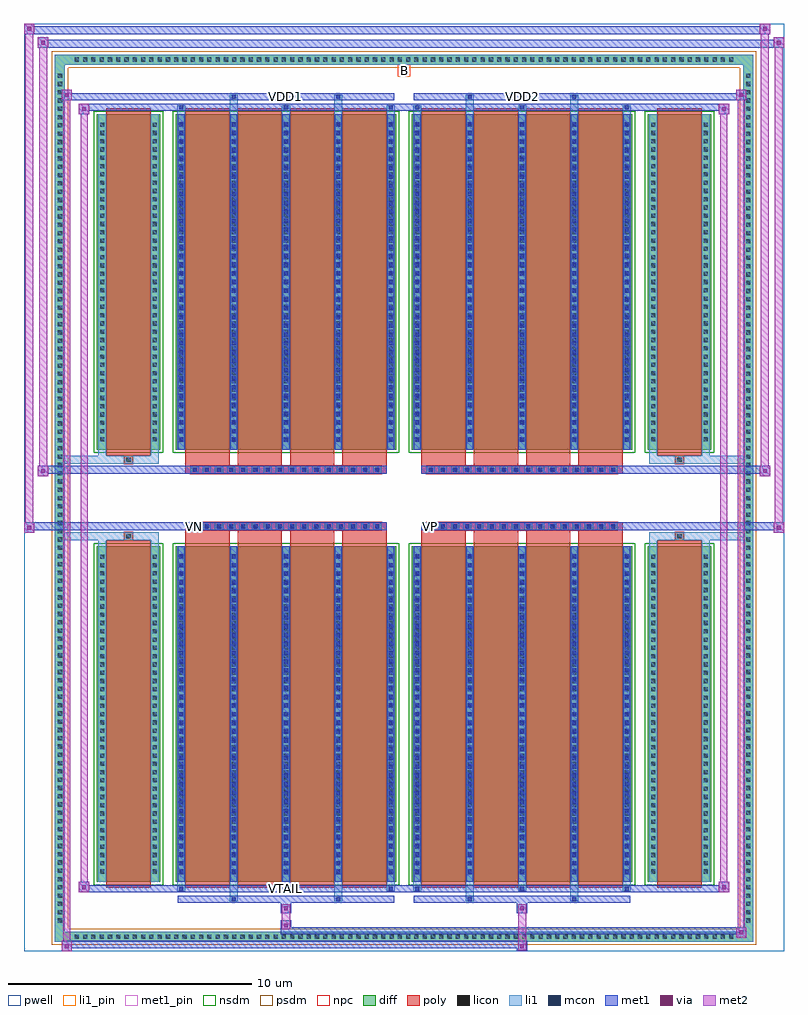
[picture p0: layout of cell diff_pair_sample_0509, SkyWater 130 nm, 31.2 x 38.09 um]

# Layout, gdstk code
import gdstk
lib = gdstk.Library(unit=1e-6, precision=5e-09)
def R(c, l, rs):  # rectangles x0, y0, x1, y1
    for r in rs: c.add(gdstk.rectangle(r[:2], r[2:], *l))
def A(c, l, x, y, w, h, nx, ny, dx, dy):  # array of equal rectangles
    R(c, l, [(x+i*dx, y+j*dy, x+i*dx+w, y+j*dy+h) for i in range(nx) for j in range(ny)])
def P(c, l, *ps):  # polygons
    for p in ps: c.add(gdstk.Polygon(p, *l))
pwell = (64, 44)
diff = (65, 20)
poly = (66, 20)
licon = (66, 44)
li1_pin = (67, 16)
li1 = (67, 20)
mcon = (67, 44)
met1_pin = (68, 16)
met1 = (68, 20)
via = (68, 44)
met2 = (69, 20)
nsdm = (93, 44)
psdm = (94, 20)
npc = (95, 20)

diff_pair_sample_0509 = lib.new_cell('diff_pair_sample_0509')
R(diff_pair_sample_0509, pwell, [(-15.6,-18.61,15.6,19.48), (-12.92,-16.8,-0.01,-0.8), (0.01,-16.8,12.92,-0.8), (-12.92,0.8,-0.01,16.8), (0.01,0.8,12.92,16.8)])
A(diff_pair_sample_0509, diff, -13.635, -18.21, 0.41, 0.41, 80, 2, 0.34, 36.01)
A(diff_pair_sample_0509, diff, -14.33, -17.545, 0.41, 0.41, 1, 103, 0, 0.34)
A(diff_pair_sample_0509, diff, 13.92, -17.545, 0.41, 0.41, 1, 103, 0, 0.34)
R(diff_pair_sample_0509, diff, [(-13.635,-18.21,13.635,-17.8), (-14.33,-17.545,-13.92,17.545), (13.92,-17.545,14.33,17.545), (-12.61,-15.755,-10.01,-1.985), (-9.37,-15.755,-0.32,-1.985), (0.32,-15.755,9.37,-1.985), (10.01,-15.755,12.61,-1.985), (-12.61,1.985,-10.01,15.755), (-9.37,1.985,-0.32,15.755), (0.32,1.985,9.37,15.755), (10.01,1.985,12.61,15.755), (-13.635,17.8,13.635,18.21)])
P(diff_pair_sample_0509, diff, [(14.33,18.21),(-14.33,18.21),(-14.33,-17.8),(-13.92,-17.8),(-13.92,17.8),(13.92,17.8),(13.92,-17.8),(-13.92,-17.8),(-14.33,-17.8),(-14.33,-18.21),(14.33,-18.21)])
A(diff_pair_sample_0509, poly, -8.98, -16.005, 1.82, 14.27, 4, 2, 2.15, 17.74)
A(diff_pair_sample_0509, poly, 0.71, -16.005, 1.82, 14.27, 4, 2, 2.15, 17.74)
A(diff_pair_sample_0509, poly, -8.98, -1.735, 1.82, 0.405, 4, 2, 2.15, 3.065)
A(diff_pair_sample_0509, poly, 0.71, -1.735, 1.82, 0.405, 4, 2, 2.15, 3.065)
A(diff_pair_sample_0509, poly, -8.76, -1.33, 0.33, 0.33, 16, 2, 0.5, 2.33)
A(diff_pair_sample_0509, poly, 0.93, -1.33, 0.33, 0.33, 16, 2, 0.5, 2.33)
R(diff_pair_sample_0509, poly, [(-12.22,-16.005,-10.4,-1.735), (10.4,-16.005,12.22,-1.735), (-11.475,-1.735,-11.145,-1.405), (-11.475,-1.735,-11.145,-1.405), (11.145,-1.735,11.475,-1.405), (11.145,-1.735,11.475,-1.405), (-8.98,-1.33,-0.71,-1), (0.71,-1.33,8.98,-1), (-8.98,1,-0.71,1.33), (0.71,1,8.98,1.33), (-11.475,1.405,-11.145,1.735), (-11.475,1.405,-11.145,1.735), (11.145,1.405,11.475,1.735), (11.145,1.405,11.475,1.735), (-12.22,1.735,-10.4,16.005), (10.4,1.735,12.22,16.005)])
A(diff_pair_sample_0509, licon, -13.515, -18.09, 0.17, 0.17, 80, 2, 0.34, 36.01)
A(diff_pair_sample_0509, licon, -14.21, -17.425, 0.17, 0.17, 1, 103, 0, 0.34)
A(diff_pair_sample_0509, licon, 14.04, -17.425, 0.17, 0.17, 1, 103, 0, 0.34)
A(diff_pair_sample_0509, licon, -12.47, -15.415, 0.17, 0.17, 1, 39, 0, 0.34)
A(diff_pair_sample_0509, licon, -10.32, -15.415, 0.17, 0.17, 1, 39, 0, 0.34)
A(diff_pair_sample_0509, licon, -9.23, -15.415, 0.17, 0.17, 5, 39, 2.15, 0.34)
A(diff_pair_sample_0509, licon, 0.46, -15.415, 0.17, 0.17, 5, 39, 2.15, 0.34)
A(diff_pair_sample_0509, licon, 10.15, -15.415, 0.17, 0.17, 1, 39, 0, 0.34)
A(diff_pair_sample_0509, licon, 12.3, -15.415, 0.17, 0.17, 1, 39, 0, 0.34)
A(diff_pair_sample_0509, licon, -8.68, -1.25, 0.17, 0.17, 16, 2, 0.5, 2.33)
A(diff_pair_sample_0509, licon, 1.01, -1.25, 0.17, 0.17, 16, 2, 0.5, 2.33)
A(diff_pair_sample_0509, licon, -12.47, 2.325, 0.17, 0.17, 1, 39, 0, 0.34)
A(diff_pair_sample_0509, licon, -10.32, 2.325, 0.17, 0.17, 1, 39, 0, 0.34)
A(diff_pair_sample_0509, licon, -9.23, 2.325, 0.17, 0.17, 5, 39, 2.15, 0.34)
A(diff_pair_sample_0509, licon, 0.46, 2.325, 0.17, 0.17, 5, 39, 2.15, 0.34)
A(diff_pair_sample_0509, licon, 10.15, 2.325, 0.17, 0.17, 1, 39, 0, 0.34)
A(diff_pair_sample_0509, licon, 12.3, 2.325, 0.17, 0.17, 1, 39, 0, 0.34)
R(diff_pair_sample_0509, licon, [(-11.395,-1.655,-11.225,-1.485), (11.225,-1.655,11.395,-1.485), (-11.395,1.485,-11.225,1.655), (11.225,1.485,11.395,1.655)])
R(diff_pair_sample_0509, li1_pin, [(-0.25,17.3,0.25,17.8)])
A(diff_pair_sample_0509, li1, -13.595, -18.17, 0.33, 0.33, 80, 2, 0.34, 36.01)
A(diff_pair_sample_0509, li1, -14.29, -17.505, 0.33, 0.33, 1, 103, 0, 0.34)
A(diff_pair_sample_0509, li1, 13.96, -17.505, 0.33, 0.33, 1, 103, 0, 0.34)
A(diff_pair_sample_0509, li1, -9.31, -16.13, 0.33, 0.375, 3, 2, 4.3, 31.885)
A(diff_pair_sample_0509, li1, -9.23, -16.13, 0.17, 0.17, 3, 2, 4.3, 32.09)
A(diff_pair_sample_0509, li1, 0.38, -16.13, 0.33, 0.375, 3, 2, 4.3, 31.885)
A(diff_pair_sample_0509, li1, 0.46, -16.13, 0.17, 0.17, 3, 2, 4.3, 32.09)
A(diff_pair_sample_0509, li1, -9.31, -15.755, 0.33, 13.77, 5, 2, 2.15, 17.74)
A(diff_pair_sample_0509, li1, 0.38, -15.755, 0.33, 13.77, 5, 2, 2.15, 17.74)
A(diff_pair_sample_0509, li1, -12.55, -15.495, 0.33, 0.33, 1, 39, 0, 0.34)
A(diff_pair_sample_0509, li1, -10.4, -15.495, 0.33, 0.33, 1, 39, 0, 0.34)
A(diff_pair_sample_0509, li1, -9.31, -15.495, 0.33, 0.33, 5, 39, 2.15, 0.34)
A(diff_pair_sample_0509, li1, 0.38, -15.495, 0.33, 0.33, 5, 39, 2.15, 0.34)
A(diff_pair_sample_0509, li1, 10.07, -15.495, 0.33, 0.33, 1, 39, 0, 0.34)
A(diff_pair_sample_0509, li1, 12.22, -15.495, 0.33, 0.33, 1, 39, 0, 0.34)
A(diff_pair_sample_0509, li1, -9.23, -15.435, 0.17, 0.17, 5, 37, 2.15, 0.36)
A(diff_pair_sample_0509, li1, -9.23, -15.435, 0.17, 13.13, 5, 2, 2.15, 17.74)
A(diff_pair_sample_0509, li1, 0.46, -15.435, 0.17, 0.17, 5, 37, 2.15, 0.36)
A(diff_pair_sample_0509, li1, 0.46, -15.435, 0.17, 13.13, 5, 2, 2.15, 17.74)
A(diff_pair_sample_0509, li1, -8.76, -1.33, 0.33, 0.33, 16, 2, 0.5, 2.33)
A(diff_pair_sample_0509, li1, 0.93, -1.33, 0.33, 0.33, 16, 2, 0.5, 2.33)
A(diff_pair_sample_0509, li1, -12.55, 2.245, 0.33, 0.33, 1, 39, 0, 0.34)
A(diff_pair_sample_0509, li1, -10.4, 2.245, 0.33, 0.33, 1, 39, 0, 0.34)
A(diff_pair_sample_0509, li1, -9.31, 2.245, 0.33, 0.33, 5, 39, 2.15, 0.34)
A(diff_pair_sample_0509, li1, 0.38, 2.245, 0.33, 0.33, 5, 39, 2.15, 0.34)
A(diff_pair_sample_0509, li1, 10.07, 2.245, 0.33, 0.33, 1, 39, 0, 0.34)
A(diff_pair_sample_0509, li1, 12.22, 2.245, 0.33, 0.33, 1, 39, 0, 0.34)
A(diff_pair_sample_0509, li1, -9.23, 2.305, 0.17, 0.17, 5, 37, 2.15, 0.36)
A(diff_pair_sample_0509, li1, 0.46, 2.305, 0.17, 0.17, 5, 37, 2.15, 0.36)
R(diff_pair_sample_0509, li1, [(-14.33,-18.21,-13.92,-17.8), (-14.33,-18.21,-13.92,-17.8), (-13.92,-18.21,13.92,-17.8), (13.92,-18.21,14.33,-17.8), (13.92,-18.21,14.33,-17.8), (-14.33,-17.8,-13.92,17.8), (13.92,-17.8,14.33,17.8), (-7.16,-16.56,-6.83,-15.755), (-7.08,-16.56,-6.91,-16.39), (-2.86,-16.56,-2.53,-15.755), (-2.78,-16.56,-2.61,-16.39), (2.53,-16.56,2.86,-15.755), (2.61,-16.56,2.78,-16.39), (6.83,-16.56,7.16,-15.755), (6.91,-16.56,7.08,-16.39), (-12.55,-15.755,-12.22,-1.985), (-10.4,-15.755,-10.07,-1.985), (10.07,-15.755,10.4,-1.985), (12.22,-15.755,12.55,-1.985), (-12.55,-1.985,-12.22,-1.405), (-10.4,-1.985,-10.07,-1.405), (10.07,-1.985,10.4,-1.405), (12.22,-1.985,12.55,-1.405), (-14.33,-1.735,-11.475,-1.405), (-12.55,-1.735,-11.475,-1.405), (-11.475,-1.735,-11.145,-1.405), (-11.145,-1.735,-10.07,-1.405), (10.07,-1.735,11.145,-1.405), (11.145,-1.735,11.475,-1.405), (11.145,-1.735,14.33,-1.405), (11.475,-1.735,12.55,-1.405), (-14.33,1.405,-11.475,1.735), (-12.55,1.405,-11.475,1.735), (-12.55,1.405,-12.22,1.985), (-11.475,1.405,-11.145,1.735), (-11.145,1.405,-10.07,1.735), (-10.4,1.405,-10.07,1.985), (10.07,1.405,11.145,1.735), (10.07,1.405,10.4,1.985), (11.145,1.405,11.475,1.735), (11.145,1.405,14.33,1.735), (11.475,1.405,12.55,1.735), (12.22,1.405,12.55,1.985), (-12.55,1.985,-12.22,15.755), (-10.4,1.985,-10.07,15.755), (10.07,1.985,10.4,15.755), (12.22,1.985,12.55,15.755), (-7.16,15.755,-6.83,16.56), (-2.86,15.755,-2.53,16.56), (2.53,15.755,2.86,16.56), (6.83,15.755,7.16,16.56), (-7.08,16.39,-6.91,16.56), (-2.78,16.39,-2.61,16.56), (2.61,16.39,2.78,16.56), (6.91,16.39,7.08,16.56), (-14.33,17.8,-13.92,18.21), (-14.33,17.8,-13.92,18.21), (-13.92,17.8,13.92,18.21), (13.92,17.8,14.33,18.21), (13.92,17.8,14.33,18.21)])
A(diff_pair_sample_0509, mcon, -9.23, -16.13, 0.17, 0.17, 3, 2, 4.3, 32.09)
A(diff_pair_sample_0509, mcon, 0.46, -16.13, 0.17, 0.17, 3, 2, 4.3, 32.09)
A(diff_pair_sample_0509, mcon, -9.23, -15.435, 0.17, 0.17, 5, 37, 2.15, 0.36)
A(diff_pair_sample_0509, mcon, 0.46, -15.435, 0.17, 0.17, 5, 37, 2.15, 0.36)
A(diff_pair_sample_0509, mcon, -8.68, -1.25, 0.17, 0.17, 16, 2, 0.5, 2.33)
A(diff_pair_sample_0509, mcon, 1.01, -1.25, 0.17, 0.17, 16, 2, 0.5, 2.33)
A(diff_pair_sample_0509, mcon, -9.23, 2.305, 0.17, 0.17, 5, 37, 2.15, 0.36)
A(diff_pair_sample_0509, mcon, 0.46, 2.305, 0.17, 0.17, 5, 37, 2.15, 0.36)
R(diff_pair_sample_0509, mcon, [(-7.08,-16.56,-6.91,-16.39), (-2.78,-16.56,-2.61,-16.39), (2.61,-16.56,2.78,-16.39), (6.91,-16.56,7.08,-16.39), (-7.08,16.39,-6.91,16.56), (-2.78,16.39,-2.61,16.56), (2.61,16.39,2.78,16.56), (6.91,16.39,7.08,16.56)])
R(diff_pair_sample_0509, met1_pin, [(-4.98,-16.17,-4.71,-15.9), (-8.73,-1.29,-8.46,-1.02), (0.96,-1.29,1.23,-1.02), (-4.98,16.35,-4.71,16.62), (4.71,16.35,4.98,16.62)])
A(diff_pair_sample_0509, met1, -9.29, -16.19, 0.29, 0.29, 3, 2, 4.3, 32.09)
A(diff_pair_sample_0509, met1, 0.4, -16.19, 0.29, 0.29, 3, 2, 4.3, 32.09)
A(diff_pair_sample_0509, met1, -9.29, -15.755, 0.29, 13.77, 5, 2, 2.15, 17.74)
A(diff_pair_sample_0509, met1, 0.4, -15.755, 0.29, 13.77, 5, 2, 2.15, 17.74)
A(diff_pair_sample_0509, met1, -9.29, -15.495, 0.29, 0.29, 5, 37, 2.15, 0.36)
A(diff_pair_sample_0509, met1, 0.4, -15.495, 0.29, 0.29, 5, 37, 2.15, 0.36)
A(diff_pair_sample_0509, met1, -8.74, -1.31, 0.29, 0.29, 16, 2, 0.5, 2.33)
A(diff_pair_sample_0509, met1, 0.95, -1.31, 0.29, 0.29, 16, 2, 0.5, 2.33)
A(diff_pair_sample_0509, met1, -9.29, 2.245, 0.29, 0.29, 5, 37, 2.15, 0.36)
A(diff_pair_sample_0509, met1, 0.4, 2.245, 0.29, 0.29, 5, 37, 2.15, 0.36)
R(diff_pair_sample_0509, met1, [(-14.06,-18.61,-13.63,-18.18), (4.63,-18.61,5.06,-18.18), (-14.06,-18.47,5.06,-18.18), (13.63,-18.04,14.06,-17.61), (-5.06,-17.9,14.06,-17.61), (-5.06,-17.76,-4.63,-17.33), (-5.06,-17.05,-4.63,-16.62), (4.63,-17.05,5.06,-16.62), (-9.29,-16.62,-0.4,-16.33), (-7.14,-16.62,-6.85,-16.33), (-2.84,-16.62,-2.55,-16.33), (0.4,-16.62,9.29,-16.33), (2.55,-16.62,2.84,-16.33), (6.85,-16.62,7.14,-16.33), (-13.35,-16.19,-12.92,-15.76), (-13.35,-16.19,-9.29,-15.9), (-9.29,-16.19,-0.4,-15.9), (-0.4,-16.19,0.4,-15.9), (0.4,-16.19,9.29,-15.9), (9.29,-16.19,13.35,-15.9), (12.92,-16.19,13.35,-15.76), (-15.6,-1.43,-15.17,-1), (15.17,-1.43,15.6,-1), (-15.6,-1.33,-0.71,-1), (-8.98,-1.33,-0.71,-1), (0.71,-1.33,8.98,-1), (0.71,-1.33,15.6,-1), (-15.03,0.9,-14.6,1.33), (14.6,0.9,15.03,1.33), (-15.03,1,-8.98,1.33), (-8.98,1,-0.71,1.33), (0.71,1,8.98,1.33), (8.98,1,15.03,1.33), (-13.35,15.76,-12.92,16.19), (12.92,15.76,13.35,16.19), (-13.35,15.9,-9.29,16.19), (-9.29,15.9,-0.4,16.19), (-0.4,15.9,0.4,16.19), (0.4,15.9,9.29,16.19), (9.29,15.9,13.35,16.19), (-14.06,16.33,-13.63,16.76), (-14.06,16.33,-9.29,16.62), (-9.29,16.33,-0.4,16.62), (-7.14,16.33,-6.85,16.62), (-2.84,16.33,-2.55,16.62), (0.4,16.33,9.29,16.62), (2.55,16.33,2.84,16.62), (6.85,16.33,7.14,16.62), (9.29,16.33,14.06,16.62), (13.63,16.33,14.06,16.76), (-15.03,18.48,-14.6,18.91), (-15.03,18.48,-12.92,18.81), (-12.92,18.48,12.92,18.81), (12.92,18.48,15.6,18.81), (15.17,18.48,15.6,18.91), (-15.6,19.05,-15.17,19.48), (-15.6,19.05,-12.92,19.38), (-12.92,19.05,12.92,19.38), (12.92,19.05,15.03,19.38), (14.6,19.05,15.03,19.48)])
R(diff_pair_sample_0509, via, [(-13.92,-18.47,-13.77,-18.32), (4.77,-18.47,4.92,-18.32), (13.77,-17.9,13.92,-17.75), (-4.92,-17.62,-4.77,-17.47), (-4.92,-16.91,-4.77,-16.76), (4.77,-16.91,4.92,-16.76), (-13.21,-16.05,-13.06,-15.9), (13.06,-16.05,13.21,-15.9), (-15.46,-1.29,-15.31,-1.14), (15.31,-1.29,15.46,-1.14), (-14.89,1.04,-14.74,1.19), (14.74,1.04,14.89,1.19), (-13.21,15.9,-13.06,16.05), (13.06,15.9,13.21,16.05), (-13.92,16.47,-13.77,16.62), (13.77,16.47,13.92,16.62), (-14.89,18.62,-14.74,18.77), (15.31,18.62,15.46,18.77), (-15.46,19.19,-15.31,19.34), (14.74,19.19,14.89,19.34)])
R(diff_pair_sample_0509, met2, [(-14.06,-18.61,-13.63,-18.18), (-13.99,-18.61,-13.7,16.76), (-13.7,-18.61,-13.63,-18.18), (-14.01,-18.56,-13.68,-18.23), (4.68,-18.56,5.01,-18.23), (4.68,-18.23,5.01,-17), (13.63,-18.04,14.06,-17.61), (13.7,-18.04,13.99,16.76), (13.99,-18.04,14.06,-17.61), (13.68,-17.99,14.01,-17.66), (-5.01,-17.71,-4.68,-17.38), (-5.01,-17.38,-4.68,-17), (-5.01,-17,-4.68,-16.67), (4.68,-17,5.01,-16.67), (-13.35,-16.19,-12.92,-15.76), (-13.28,-16.19,-12.99,16.19), (-12.99,-16.19,-12.92,-15.76), (12.92,-16.19,13.35,-15.76), (12.99,-16.19,13.28,16.19), (13.28,-16.19,13.35,-15.76), (-13.3,-16.14,-12.97,-15.81), (12.97,-16.14,13.3,-15.81), (-15.6,-1.43,-15.17,-1), (-15.55,-1.43,-15.22,19.48), (-15.22,-1.43,-15.17,-1), (15.17,-1.43,15.6,-1), (15.22,-1.43,15.55,18.91), (15.55,-1.43,15.6,-1), (-15.55,-1.38,-15.22,-1.05), (15.22,-1.38,15.55,-1.05), (-15.03,0.9,-14.6,1.33), (-14.98,0.9,-14.65,18.91), (-14.65,0.9,-14.6,1.33), (14.6,0.9,15.03,1.33), (14.65,0.9,14.98,19.48), (14.98,0.9,15.03,1.33), (-14.98,0.95,-14.65,1.28), (14.65,0.95,14.98,1.28), (-13.35,15.76,-12.92,16.19), (-12.99,15.76,-12.92,16.19), (12.92,15.76,13.35,16.19), (13.28,15.76,13.35,16.19), (-13.3,15.81,-12.97,16.14), (12.97,15.81,13.3,16.14), (-14.06,16.33,-13.63,16.76), (-13.7,16.33,-13.63,16.76), (13.63,16.33,14.06,16.76), (13.99,16.33,14.06,16.76), (-14.01,16.38,-13.68,16.71), (13.68,16.38,14.01,16.71), (-15.03,18.48,-14.6,18.91), (-14.65,18.48,-14.6,18.91), (15.17,18.48,15.6,18.91), (15.55,18.48,15.6,18.91), (-14.98,18.53,-14.65,18.86), (15.22,18.53,15.55,18.86), (-15.6,19.05,-15.17,19.48), (-15.22,19.05,-15.17,19.48), (14.6,19.05,15.03,19.48), (14.98,19.05,15.03,19.48), (-15.55,19.1,-15.22,19.43), (14.65,19.1,14.98,19.43)])
R(diff_pair_sample_0509, nsdm, [(-12.74,-15.885,-9.88,-1.855), (-9.5,-15.885,-0.19,-1.855), (0.19,-15.885,9.5,-1.855), (9.88,-15.885,12.74,-1.855), (-12.74,1.855,-9.88,15.885), (-9.5,1.855,-0.19,15.885), (0.19,1.855,9.5,15.885), (9.88,1.855,12.74,15.885)])
P(diff_pair_sample_0509, psdm, [(14.46,18.34),(-14.46,18.34),(-14.46,-17.67),(-13.79,-17.67),(-13.79,17.67),(13.79,17.67),(13.79,-17.67),(-13.79,-17.67),(-14.46,-17.67),(-14.46,-18.34),(14.46,-18.34)])
A(diff_pair_sample_0509, npc, -8.78, -1.35, 0.37, 0.37, 16, 2, 0.5, 2.33)
A(diff_pair_sample_0509, npc, 0.91, -1.35, 0.37, 0.37, 16, 2, 0.5, 2.33)
R(diff_pair_sample_0509, npc, [(-11.495,-1.755,-11.125,-1.385), (11.125,-1.755,11.495,-1.385), (-8.78,-1.35,-7.91,-0.98), (-8.78,-1.35,-7.91,-0.98), (-8.28,-1.35,-7.41,-0.98), (-8.28,-1.35,-7.41,-0.98), (-7.78,-1.35,-6.91,-0.98), (-7.78,-1.35,-6.91,-0.98), (-7.28,-1.35,-6.41,-0.98), (-7.28,-1.35,-6.41,-0.98), (-6.78,-1.35,-5.91,-0.98), (-6.78,-1.35,-5.91,-0.98), (-6.28,-1.35,-5.41,-0.98), (-6.28,-1.35,-5.41,-0.98), (-5.78,-1.35,-4.91,-0.98), (-5.78,-1.35,-4.91,-0.98), (-5.28,-1.35,-4.41,-0.98), (-5.28,-1.35,-4.41,-0.98), (-4.78,-1.35,-3.91,-0.98), (-4.78,-1.35,-3.91,-0.98), (-4.28,-1.35,-3.41,-0.98), (-4.28,-1.35,-3.41,-0.98), (-3.78,-1.35,-2.91,-0.98), (-3.78,-1.35,-2.91,-0.98), (-3.28,-1.35,-2.41,-0.98), (-3.28,-1.35,-2.41,-0.98), (-2.78,-1.35,-1.91,-0.98), (-2.78,-1.35,-1.91,-0.98), (-2.28,-1.35,-1.41,-0.98), (-2.28,-1.35,-1.41,-0.98), (-1.78,-1.35,-0.91,-0.98), (-1.78,-1.35,-0.91,-0.98), (0.91,-1.35,1.78,-0.98), (0.91,-1.35,1.78,-0.98), (1.41,-1.35,2.28,-0.98), (1.41,-1.35,2.28,-0.98), (1.91,-1.35,2.78,-0.98), (1.91,-1.35,2.78,-0.98), (2.41,-1.35,3.28,-0.98), (2.41,-1.35,3.28,-0.98), (2.91,-1.35,3.78,-0.98), (2.91,-1.35,3.78,-0.98), (3.41,-1.35,4.28,-0.98), (3.41,-1.35,4.28,-0.98), (3.91,-1.35,4.78,-0.98), (3.91,-1.35,4.78,-0.98), (4.41,-1.35,5.28,-0.98), (4.41,-1.35,5.28,-0.98), (4.91,-1.35,5.78,-0.98), (4.91,-1.35,5.78,-0.98), (5.41,-1.35,6.28,-0.98), (5.41,-1.35,6.28,-0.98), (5.91,-1.35,6.78,-0.98), (5.91,-1.35,6.78,-0.98), (6.41,-1.35,7.28,-0.98), (6.41,-1.35,7.28,-0.98), (6.91,-1.35,7.78,-0.98), (6.91,-1.35,7.78,-0.98), (7.41,-1.35,8.28,-0.98), (7.41,-1.35,8.28,-0.98), (7.91,-1.35,8.78,-0.98), (7.91,-1.35,8.78,-0.98), (-8.78,0.98,-7.91,1.35), (-8.78,0.98,-7.91,1.35), (-8.28,0.98,-7.41,1.35), (-8.28,0.98,-7.41,1.35), (-7.78,0.98,-6.91,1.35), (-7.78,0.98,-6.91,1.35), (-7.28,0.98,-6.41,1.35), (-7.28,0.98,-6.41,1.35), (-6.78,0.98,-5.91,1.35), (-6.78,0.98,-5.91,1.35), (-6.28,0.98,-5.41,1.35), (-6.28,0.98,-5.41,1.35), (-5.78,0.98,-4.91,1.35), (-5.78,0.98,-4.91,1.35), (-5.28,0.98,-4.41,1.35), (-5.28,0.98,-4.41,1.35), (-4.78,0.98,-3.91,1.35), (-4.78,0.98,-3.91,1.35), (-4.28,0.98,-3.41,1.35), (-4.28,0.98,-3.41,1.35), (-3.78,0.98,-2.91,1.35), (-3.78,0.98,-2.91,1.35), (-3.28,0.98,-2.41,1.35), (-3.28,0.98,-2.41,1.35), (-2.78,0.98,-1.91,1.35), (-2.78,0.98,-1.91,1.35), (-2.28,0.98,-1.41,1.35), (-2.28,0.98,-1.41,1.35), (-1.78,0.98,-0.91,1.35), (-1.78,0.98,-0.91,1.35), (0.91,0.98,1.78,1.35), (0.91,0.98,1.78,1.35), (1.41,0.98,2.28,1.35), (1.41,0.98,2.28,1.35), (1.91,0.98,2.78,1.35), (1.91,0.98,2.78,1.35), (2.41,0.98,3.28,1.35), (2.41,0.98,3.28,1.35), (2.91,0.98,3.78,1.35), (2.91,0.98,3.78,1.35), (3.41,0.98,4.28,1.35), (3.41,0.98,4.28,1.35), (3.91,0.98,4.78,1.35), (3.91,0.98,4.78,1.35), (4.41,0.98,5.28,1.35), (4.41,0.98,5.28,1.35), (4.91,0.98,5.78,1.35), (4.91,0.98,5.78,1.35), (5.41,0.98,6.28,1.35), (5.41,0.98,6.28,1.35), (5.91,0.98,6.78,1.35), (5.91,0.98,6.78,1.35), (6.41,0.98,7.28,1.35), (6.41,0.98,7.28,1.35), (6.91,0.98,7.78,1.35), (6.91,0.98,7.78,1.35), (7.41,0.98,8.28,1.35), (7.41,0.98,8.28,1.35), (7.91,0.98,8.78,1.35), (7.91,0.98,8.78,1.35), (-11.495,1.385,-11.125,1.755), (11.125,1.385,11.495,1.755)])
diff_pair_sample_0509.add(gdstk.Label('VTAIL', (-4.845,-16.035), layer=68, texttype=5))
diff_pair_sample_0509.add(gdstk.Label('VN', (-8.595,-1.155), layer=68, texttype=5))
diff_pair_sample_0509.add(gdstk.Label('VP', (1.095,-1.155), layer=68, texttype=5))
diff_pair_sample_0509.add(gdstk.Label('B', (0,17.55), layer=67, texttype=5))
diff_pair_sample_0509.add(gdstk.Label('VDD2', (4.845,16.485), layer=68, texttype=5))
diff_pair_sample_0509.add(gdstk.Label('VDD1', (-4.845,16.485), layer=68, texttype=5))

lib.write_gds('diff_pair_sample_0509.gds')
